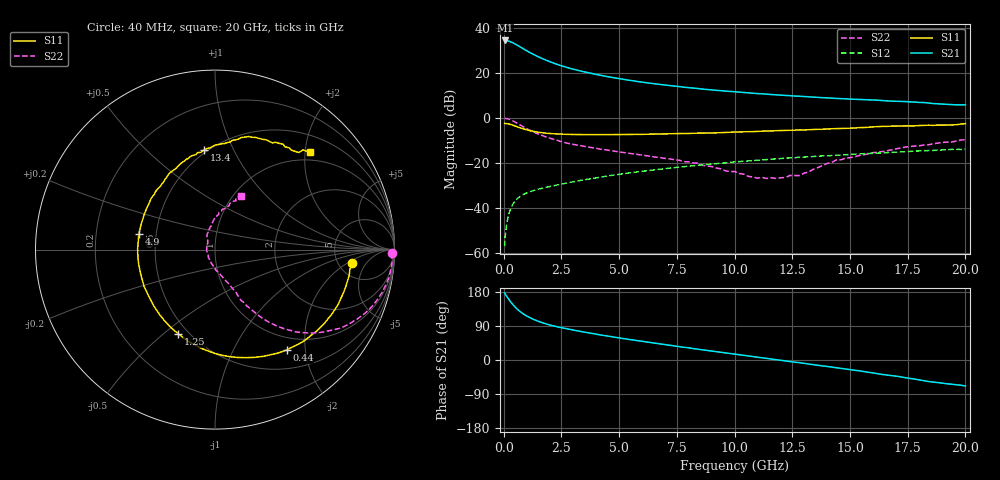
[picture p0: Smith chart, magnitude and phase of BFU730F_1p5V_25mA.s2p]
! Filename:  P:\Prog\Test\Noise\ATS_data\Testdata_Net\Split files Spar\BFU730_2W_B1_Bias9_1.5V_1mA_30mA_D.s2p
! Date/Time: Fri 29/Apr/2011 14:17:02
! BFU730_2W_B1_Bias9_1.5V_1mA_30mA_R.s2p
! MDIF S-parameter v. bias file
! BFU730_2W_B1_1.5V_1mA_30mA
! Date/time Thu Mar 17 13:45:32 2011
! VAR V_out= 1.5003
! VAR I_out= 24.9850
! VAR V_in= 0.8256
! VAR I_in= 0.0895
! Device data file deembeded for feedlines and parallel
! Original file: \Split files Spar\BFU730_2W_B1_Bias9_1.5V_1mA_30mA_R.s2p
! Feed-files: PR003V01_101208_Feed1.s2p, PR003V01_101208_Feed2.s2p
! Parallel-file: PR003V01_101208_Par.s2p
# MHz S MA R 50
!  Freq-MHz  S11-mag  S11-arg  S21-mag  S21-arg  S12-mag  S12-arg  S22-mag  S22-arg
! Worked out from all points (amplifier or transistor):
!   167 points, 40 MHz to 20 GHz, reference 50 ohm
!   highest |S21| = 34.5 dB at 50 MHz (marker M1)
!   |S21| within 3 dB of that: start of sweep to 734 MHz
!   unconditionally stable (mu >= 1): 3.922 GHz to 15.82 GHz
!   at 550 MHz: K = 0.25, MSG = 34.4 dB, |S12| = -36.2 dB
!   at 4.2 GHz: K = 1.02, MAG = 21.8 dB, |S12| = -26.2 dB
!   at 20 GHz: K = 0.89, MSG = 9.9 dB, |S12| = -13.8 dB
!   S11 on the Smith chart (normalised r, x): 40 MHz: 6.66, -2.35; 440 MHz: 0.78, -1.66; 1.25 GHz: 0.44, -0.56; 4.9 GHz: 0.40, +0.09; 13.4 GHz: 0.48, +0.78; 20 GHz: 0.83, +2.09
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40  0.765 -5.5  53.17 176.9  0.001436 87.6  0.9846 -1.2
50  0.765 -7.1  53.24 175.4  0.001883 98.5  0.9854 -2.4
60  0.7597 -8.2  52.17 174.6  0.002258 88.3  0.9885 -3.1
80  0.7613 -10.8  53.07 172.9  0.002775 85.8  0.9881 -4.9
120  0.757 -16.2  52.75 169.1  0.004097 83.2  0.9825 -8.2
240  0.738 -31.5  51.22 158.4  0.007906 76.5  0.9469 -17.0
340  0.7148 -43.5  48.64 150.4  0.01078 71.4  0.9021 -23.7
440  0.6871 -54.5  46.04 143.3  0.01328 66.7  0.8506 -29.4
600  0.6396 -69.8  41.55 133.4  0.01648 60.9  0.7627 -36.9
850  0.5793 -90.0  34.72 121.5  0.02016 55.0  0.6438 -45.4
1050  0.5408 -102.6  30.27 114.3  0.02242 52.2  0.5664 -50.0
1250  0.5127 -113.4  26.66 108.3  0.02436 50.5  0.5048 -53.4
1550  0.4834 -126.5  22.46 101.0  0.02691 49.1  0.4333 -56.8
2000  0.4554 -141.6  17.95 92.4  0.03042 48.4  0.3597 -60.6
2600  0.4397 -156.4  14.05 84.0  0.03529 48.3  0.2908 -63.5
3400  0.4317 -171.1  10.95 74.6  0.04202 47.9  0.2412 -65.6
4900  0.4327 168.1  7.705 59.2  0.05572 45.1  0.1816 -71.2
6800  0.4451 148.4  5.588 42.3  0.07376 39.0  0.1324 -80.7
10200  0.4963 120.0  3.789 13.9  0.1086 24.0  0.0588 -125.0
13400  0.5587 96.0  2.939 -12.2  0.1412 6.2  0.07276 128.0
16800  0.6646 70.2  2.391 -41.0  0.1735 -13.7  0.1971 83.9
20000  0.7555 45.8  1.974 -68.7  0.2037 -34.8  0.3332 64.0
